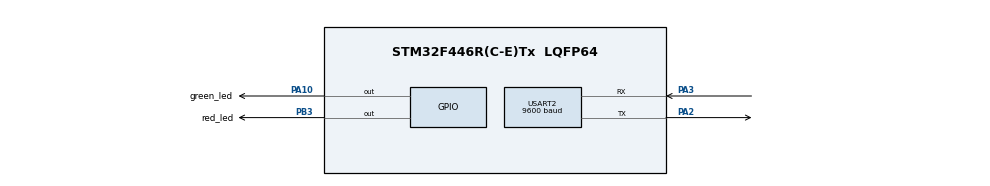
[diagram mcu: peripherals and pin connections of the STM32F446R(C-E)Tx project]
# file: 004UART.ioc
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Mcu.Family=STM32F4
Mcu.Name=STM32F446R(C-E)Tx
Mcu.Package=LQFP64
NVIC.PriorityGroup=NVIC_PRIORITYGROUP_4
NVIC.USART2_IRQn=true\:0\:0\:false\:false\:true\:true\:true\:true
PA10.GPIO_Label=green_led
PA10.PinState=GPIO_PIN_RESET
PA10.Signal=GPIO_Output
PA13.Mode=Serial_Wire
PA13.Signal=SYS_JTMS-SWDIO
PA14.Mode=Serial_Wire
PA14.Signal=SYS_JTCK-SWCLK
PA2.GPIO_Speed=GPIO_SPEED_FREQ_MEDIUM
PA2.Mode=Asynchronous
PA2.Signal=USART2_TX
PA3.Mode=Asynchronous
PA3.Signal=USART2_RX
PB3.GPIO_Label=red_led
PB3.Signal=GPIO_Output
ProjectManager.HeapSize=0x200
ProjectManager.StackSize=0x400
ProjectManager.TargetToolchain=STM32CubeIDE
RCC.CortexFreq_Value=16000000
RCC.USBFreq_Value=96000000
RCC.VCOOutputFreq_Value=192000000
USART2.BaudRate=9600
USART2.Mode=MODE_TX_RX
USART2.VirtualMode=VM_ASYNC
board=custom

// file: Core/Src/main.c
/* USER CODE BEGIN Header */
/**
  ******************************************************************************
  * @file           : main.c
  * @brief          : Main program body
  ******************************************************************************
  * @attention
  *
  * Copyright (c) 2025 STMicroelectronics.
  * All rights reserved.
  *
  * This software is licensed under terms that can be found in the LICENSE file
  * in the root directory of this software component.
  * If no LICENSE file comes with this software, it is provided AS-IS.
  *
  ******************************************************************************
  */
/* USER CODE END Header */
#include <stdio.h> // sizeof

#include "main.h"

/* USER CODE BEGIN Includes */
#include "auxiliary.h"
/* USER CODE END Includes */

 UART_HandleTypeDef huart2;

void SystemClock_Config(void);
static void MX_GPIO_Init(void);
static void MX_USART2_UART_Init(void);

int main(void)
{
  /* USER CODE BEGIN 1 */
	uint8_t n_leds = 2;
	uint16_t led_pins[] = {red_led_Pin, green_led_Pin};
	GPIO_TypeDef* led_ports[] = {red_led_GPIO_Port, green_led_GPIO_Port};

  /* USER CODE END 1 */

  /* MCU Configuration--------------------------------------------------------*/

  /* Reset of all peripherals, Initializes the Flash interface and the Systick. */
  HAL_Init();

  /* Configure the system clock */
  SystemClock_Config();

  /* Initialize all configured peripherals */
  MX_GPIO_Init();
  MX_USART2_UART_Init();

  /* Infinite loop */
  /* USER CODE BEGIN WHILE */

  /* Receive data format.
   * PING - check connection (ping).
   * ALON - turn on all the leds. -- all on
   * ALOF - turn off all the leds. -- all off
   * ONV[1-2] - turn on red/green led. -- turn on variant
   * DATA - return led data. 10 - red, 01 - green, 11 - all on, 00 - all off.
   */
  uint8_t data_size = 4;
  uint8_t data[data_size];

  while (1)
  {
    HAL_UART_Receive_IT(&huart2, data, data_size);
    uint8_t res = data_interpretation(data, data_size);

    switch (res) {
      // turn off all the leds
      case 1: {
    	uint8_t arr[] = {'0', '0'};
        set_led_status(arr);
	    for (uint8_t i = 0; i < n_leds; i++) {
	      HAL_GPIO_WritePin(led_ports[i], led_pins[i], GPIO_PIN_RESET);
	    }
	    HAL_UART_Transmit_IT(&huart2, data, data_size);
	    break;
      }
      // turn on all the leds
      case 2: {
    	uint8_t arr[] = {'1', '1'};
    	set_led_status(arr);
	    for (uint8_t i = 0; i < n_leds; i++) {
		  HAL_GPIO_WritePin(led_ports[i], led_pins[i], GPIO_PIN_SET);
		}
	    HAL_UART_Transmit_IT(&huart2, data, data_size);
		break;
      }
      // turn on red led
      case 3: {
    	uint8_t* arr = get_led_status();
    	arr[0] = '1';
    	set_led_status(arr);
        HAL_GPIO_WritePin(led_ports[0], led_pins[0], GPIO_PIN_SET);
        //HAL_UART_Transmit_IT(&huart2, data, data_size);
        break;
      }
      // turn on green led
      case 4: {
    	uint8_t* arr = get_led_status();
		arr[1] = '1';
        set_led_status(arr);
    	HAL_GPIO_WritePin(led_ports[1], led_pins[1], GPIO_PIN_SET);
    	HAL_UART_Transmit_IT(&huart2, data, data_size);
        break;
      }
      // ping - repeat the command
      case 5: {
	    HAL_UART_Transmit_IT(&huart2, data, data_size);
	    break;
      }
      // data
      case 6: {
	    uint8_t* arr = get_led_status();
    	HAL_UART_Transmit_IT(&huart2, arr, 2);
        break;
      }
    }

    HAL_Delay(500);

    /* USER CODE END WHILE */

  }
}

void SystemClock_Config(void)
{
  RCC_OscInitTypeDef RCC_OscInitStruct = {0};
  RCC_ClkInitTypeDef RCC_ClkInitStruct = {0};

  /** Configure the main internal regulator output voltage
  */
  __HAL_RCC_PWR_CLK_ENABLE();
  __HAL_PWR_VOLTAGESCALING_CONFIG(PWR_REGULATOR_VOLTAGE_SCALE3);

  /** Initializes the RCC Oscillators according to the specified parameters
  * in the RCC_OscInitTypeDef structure.
  */
  RCC_OscInitStruct.OscillatorType = RCC_OSCILLATORTYPE_HSI;
  RCC_OscInitStruct.HSIState = RCC_HSI_ON;
  RCC_OscInitStruct.HSICalibrationValue = RCC_HSICALIBRATION_DEFAULT;
  RCC_OscInitStruct.PLL.PLLState = RCC_PLL_NONE;
  if (HAL_RCC_OscConfig(&RCC_OscInitStruct) != HAL_OK)
  {
    Error_Handler();
  }

  /** Initializes the CPU, AHB and APB buses clocks
  */
  RCC_ClkInitStruct.ClockType = RCC_CLOCKTYPE_HCLK|RCC_CLOCKTYPE_SYSCLK
                              |RCC_CLOCKTYPE_PCLK1|RCC_CLOCKTYPE_PCLK2;
  RCC_ClkInitStruct.SYSCLKSource = RCC_SYSCLKSOURCE_HSI;
  RCC_ClkInitStruct.AHBCLKDivider = RCC_SYSCLK_DIV1;
  RCC_ClkInitStruct.APB1CLKDivider = RCC_HCLK_DIV1;
  RCC_ClkInitStruct.APB2CLKDivider = RCC_HCLK_DIV1;

  if (HAL_RCC_ClockConfig(&RCC_ClkInitStruct, FLASH_LATENCY_0) != HAL_OK)
  {
    Error_Handler();
  }
}

static void MX_USART2_UART_Init(void)
{

  huart2.Instance = USART2;
  huart2.Init.BaudRate = 9600;
  huart2.Init.WordLength = UART_WORDLENGTH_8B;
  huart2.Init.StopBits = UART_STOPBITS_1;
  huart2.Init.Parity = UART_PARITY_NONE;
  huart2.Init.Mode = UART_MODE_TX_RX;
  huart2.Init.HwFlowCtl = UART_HWCONTROL_NONE;
  huart2.Init.OverSampling = UART_OVERSAMPLING_16;
  if (HAL_UART_Init(&huart2) != HAL_OK)
  {
    Error_Handler();
  }

}

static void MX_GPIO_Init(void)
{
  GPIO_InitTypeDef GPIO_InitStruct = {0};

  /* GPIO Ports Clock Enable */
  __HAL_RCC_GPIOA_CLK_ENABLE();
  __HAL_RCC_GPIOB_CLK_ENABLE();

  /*Configure GPIO pin Output Level */
  HAL_GPIO_WritePin(green_led_GPIO_Port, green_led_Pin, GPIO_PIN_RESET);

  /*Configure GPIO pin Output Level */
  HAL_GPIO_WritePin(red_led_GPIO_Port, red_led_Pin, GPIO_PIN_RESET);

  /*Configure GPIO pin : green_led_Pin */
  GPIO_InitStruct.Pin = green_led_Pin;
  GPIO_InitStruct.Mode = GPIO_MODE_OUTPUT_PP;
  GPIO_InitStruct.Pull = GPIO_NOPULL;
  GPIO_InitStruct.Speed = GPIO_SPEED_FREQ_LOW;
  HAL_GPIO_Init(green_led_GPIO_Port, &GPIO_InitStruct);

  /*Configure GPIO pin : red_led_Pin */
  GPIO_InitStruct.Pin = red_led_Pin;
  GPIO_InitStruct.Mode = GPIO_MODE_OUTPUT_PP;
  GPIO_InitStruct.Pull = GPIO_NOPULL;
  GPIO_InitStruct.Speed = GPIO_SPEED_FREQ_LOW;
  HAL_GPIO_Init(red_led_GPIO_Port, &GPIO_InitStruct);

}

void Error_Handler(void)
{
  __disable_irq();
  while (1)
  {
  }
}
